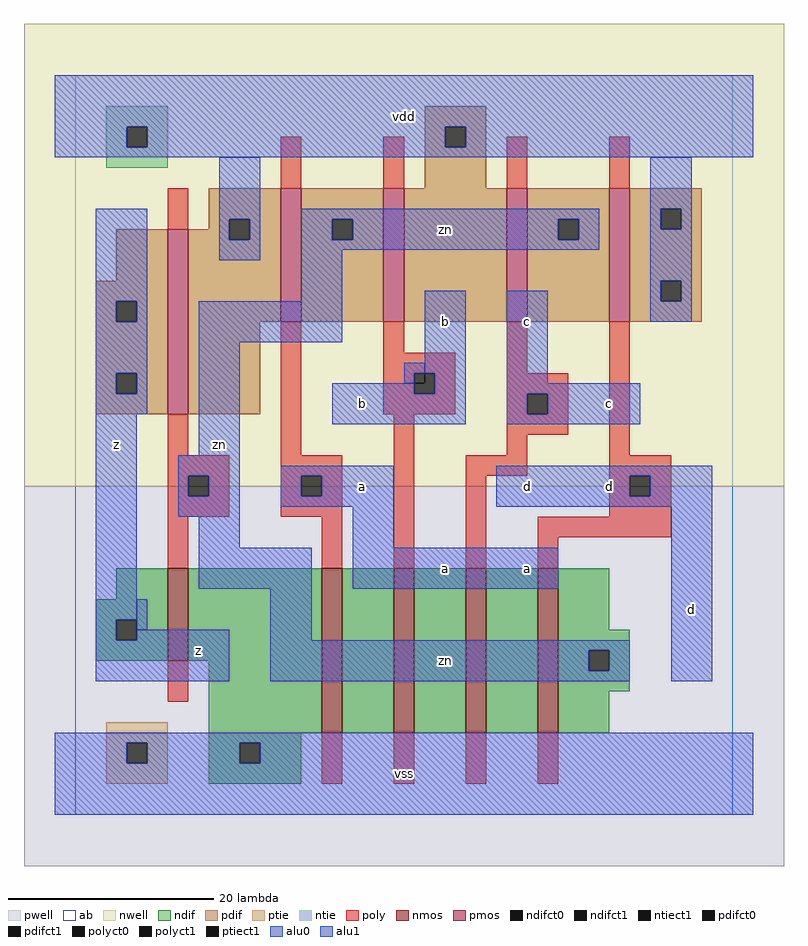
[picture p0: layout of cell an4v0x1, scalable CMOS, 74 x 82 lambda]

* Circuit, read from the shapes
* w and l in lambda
.subckt an4v0x1 a b c d vdd vss z zn
M1 vss zn z vss nfet w=9 l=2
M2 n1 a vss vss nfet w=16 l=2
M3 n2 b n1 vss nfet w=16 l=2
M4 n3 c n2 vss nfet w=16 l=2
M5 zn d n3 vss nfet w=16 l=2
M6 vdd zn z vdd pfet w=18 l=2
M7 zn a vdd vdd pfet w=13 l=2
M8 vdd b zn vdd pfet w=13 l=2
M9 zn c vdd vdd pfet w=13 l=2
M10 vdd d zn vdd pfet w=13 l=2
.ends

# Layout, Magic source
magic
tech scmos
<< ab >>
rect 0 0 64 72
<< nwell >>
rect -5 32 69 77
<< pwell >>
rect -5 -5 69 32
<< poly >>
rect 20 61 22 66
rect 30 61 32 66
rect 42 61 44 66
rect 52 61 54 66
rect 9 57 11 61
rect 9 35 11 39
rect 20 35 22 48
rect 30 45 32 48
rect 30 43 37 45
rect 30 41 33 43
rect 35 41 37 43
rect 30 39 37 41
rect 42 43 44 48
rect 42 41 48 43
rect 42 39 44 41
rect 46 39 48 41
rect 9 33 15 35
rect 9 31 11 33
rect 13 31 15 33
rect 9 29 15 31
rect 20 33 26 35
rect 20 31 22 33
rect 24 31 26 33
rect 20 29 26 31
rect 9 24 11 29
rect 24 24 26 29
rect 31 24 33 39
rect 42 37 48 39
rect 42 35 44 37
rect 38 33 44 35
rect 52 35 54 48
rect 52 33 58 35
rect 38 24 40 33
rect 52 31 54 33
rect 56 31 58 33
rect 52 29 58 31
rect 45 27 58 29
rect 45 24 47 27
rect 9 11 11 15
rect 24 3 26 8
rect 31 3 33 8
rect 38 3 40 8
rect 45 3 47 8
<< ndif >>
rect 4 21 9 24
rect 2 19 9 21
rect 2 17 4 19
rect 6 17 9 19
rect 2 15 9 17
rect 11 15 24 24
rect 13 8 24 15
rect 26 8 31 24
rect 33 8 38 24
rect 40 8 45 24
rect 47 18 52 24
rect 47 16 54 18
rect 47 14 50 16
rect 52 14 54 16
rect 47 12 54 14
rect 47 8 52 12
rect 13 7 22 8
rect 13 5 16 7
rect 18 5 22 7
rect 13 3 22 5
<< pdif >>
rect 34 67 40 69
rect 34 65 36 67
rect 38 65 40 67
rect 34 61 40 65
rect 13 58 20 61
rect 13 57 15 58
rect 4 52 9 57
rect 2 50 9 52
rect 2 48 4 50
rect 6 48 9 50
rect 2 43 9 48
rect 2 41 4 43
rect 6 41 9 43
rect 2 39 9 41
rect 11 56 15 57
rect 17 56 20 58
rect 11 48 20 56
rect 22 58 30 61
rect 22 56 25 58
rect 27 56 30 58
rect 22 48 30 56
rect 32 48 42 61
rect 44 58 52 61
rect 44 56 47 58
rect 49 56 52 58
rect 44 48 52 56
rect 54 59 61 61
rect 54 57 57 59
rect 59 57 61 59
rect 54 52 61 57
rect 54 50 57 52
rect 59 50 61 52
rect 54 48 61 50
rect 11 39 18 48
<< alu1 >>
rect -2 67 66 72
rect -2 65 5 67
rect 7 65 36 67
rect 38 65 66 67
rect -2 64 66 65
rect 2 50 7 59
rect 2 48 4 50
rect 6 48 7 50
rect 2 43 7 48
rect 2 41 4 43
rect 6 41 7 43
rect 2 39 7 41
rect 2 19 6 39
rect 34 43 38 51
rect 25 41 33 42
rect 35 41 38 43
rect 25 38 38 41
rect 42 42 46 51
rect 42 41 55 42
rect 42 39 44 41
rect 46 39 55 41
rect 42 38 55 39
rect 20 33 31 34
rect 20 31 22 33
rect 24 31 31 33
rect 20 30 31 31
rect 41 33 62 34
rect 41 31 54 33
rect 56 31 62 33
rect 41 30 62 31
rect 27 26 31 30
rect 27 22 47 26
rect 2 17 4 19
rect 6 17 15 18
rect 2 13 15 17
rect 58 13 62 30
rect -2 7 66 8
rect -2 5 5 7
rect 7 5 16 7
rect 18 5 66 7
rect -2 0 66 5
<< ptie >>
rect 3 7 9 9
rect 3 5 5 7
rect 7 5 9 7
rect 3 3 9 5
<< ntie >>
rect 3 67 9 69
rect 3 65 5 67
rect 7 65 9 67
rect 3 63 9 65
<< nmos >>
rect 9 15 11 24
rect 24 8 26 24
rect 31 8 33 24
rect 38 8 40 24
rect 45 8 47 24
<< pmos >>
rect 9 39 11 57
rect 20 48 22 61
rect 30 48 32 61
rect 42 48 44 61
rect 52 48 54 61
<< polyct0 >>
rect 33 42 34 43
rect 11 31 13 33
<< polyct1 >>
rect 34 42 35 43
rect 33 41 35 42
rect 44 39 46 41
rect 22 31 24 33
rect 54 31 56 33
<< ndifct0 >>
rect 50 14 52 16
<< ndifct1 >>
rect 4 17 6 19
rect 16 5 18 7
<< ntiect1 >>
rect 5 65 7 67
<< ptiect1 >>
rect 5 5 7 7
<< pdifct0 >>
rect 15 56 17 58
rect 25 56 27 58
rect 47 56 49 58
rect 57 57 59 59
rect 57 50 59 52
<< pdifct1 >>
rect 36 65 38 67
rect 4 48 6 50
rect 4 41 6 43
<< alu0 >>
rect 14 58 18 64
rect 56 59 60 64
rect 14 56 15 58
rect 17 56 18 58
rect 14 54 18 56
rect 22 58 51 59
rect 22 56 25 58
rect 27 56 47 58
rect 49 56 51 58
rect 22 55 51 56
rect 56 57 57 59
rect 59 57 60 59
rect 22 50 26 55
rect 56 52 60 57
rect 12 46 26 50
rect 12 35 16 46
rect 32 43 34 44
rect 32 42 33 43
rect 56 50 57 52
rect 59 50 60 52
rect 56 48 60 50
rect 10 33 16 35
rect 10 31 11 33
rect 13 31 16 33
rect 10 29 16 31
rect 12 26 16 29
rect 12 22 23 26
rect 6 18 7 21
rect 19 17 23 22
rect 19 16 54 17
rect 19 14 50 16
rect 52 14 54 16
rect 19 13 54 14
<< labels >>
rlabel alu0 14 36 14 36 6 zn
rlabel alu0 36 15 36 15 6 zn
rlabel alu0 36 57 36 57 6 zn
rlabel alu1 12 16 12 16 6 z
rlabel alu1 4 36 4 36 6 z
rlabel alu1 28 32 28 32 6 a
rlabel alu1 28 40 28 40 6 b
rlabel alu1 32 4 32 4 6 vss
rlabel alu1 36 24 36 24 6 a
rlabel alu1 44 24 44 24 6 a
rlabel alu1 44 32 44 32 6 d
rlabel alu1 36 48 36 48 6 b
rlabel alu1 44 48 44 48 6 c
rlabel alu1 32 68 32 68 6 vdd
rlabel alu1 60 20 60 20 6 d
rlabel alu1 52 32 52 32 6 d
rlabel alu1 52 40 52 40 6 c
<< end >>
